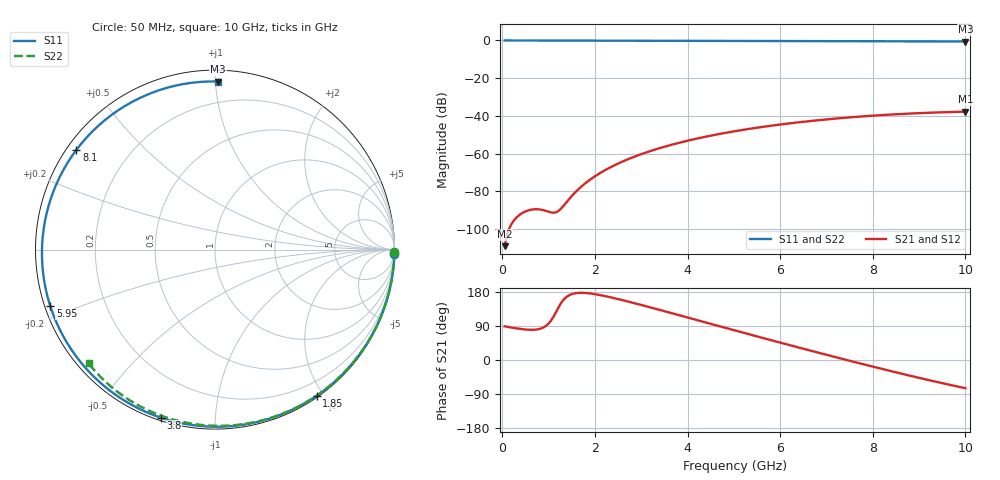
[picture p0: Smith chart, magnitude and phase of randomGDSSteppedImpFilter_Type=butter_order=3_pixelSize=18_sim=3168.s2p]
! freq	dB(S11)	phase(S11)	dB(S12)	phase(S12)
!  dB(S21)	phase(S21)	dB(S22)	phase(S22)
!S-par simulation data
#  GHz  S  DB  R 50
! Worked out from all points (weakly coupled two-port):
!   200 points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, 50 MHz to 10 GHz, reference 50 ohm
!   highest |S21| = -37.75 dB at 10 GHz (marker M1); lowest = -109.1 dB at 50 MHz (marker M2)
!   lowest |S11| = -0.6 dB at 10 GHz (marker M3), VSWR 30.51, Z = 3.33 + j50.8 ohm
!   |S11| at or under -10 dB: nowhere
!   |S22| runs from -0.5 to 0.0 dB; largest |S21 - S12| = 0
!   S11 on the Smith chart (normalised r, x): 50 MHz: 0, -74; 1.85 GHz: 0.02, -1.91; 3.8 GHz: 0.01, -0.73; 5.95 GHz: 0.02, -0.17; 8.1 GHz: 0.03, +0.32; 10 GHz: 0.07, +1.02
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0.05  -0.00 -1.5  -109.06 88.9  -109.06 88.9  -0.00 -0.8
0.4  -0.02 -12.2  -91.97 81.8  -91.97 81.8  -0.01 -6.4
0.75  -0.03 -22.8  -89.47 80.6  -89.47 80.6  -0.02 -11.9
1.55  -0.06 -46.6  -81.14 175.5  -81.14 175.5  -0.03 -24.4
1.6  -0.06 -48.0  -79.90 176.6  -79.90 176.6  -0.03 -25.2
1.75  -0.07 -52.4  -76.56 177.2  -76.56 177.2  -0.04 -27.5
1.85  -0.07 -55.2  -74.61 176.3  -74.61 176.3  -0.04 -29.1
2.15  -0.08 -63.7  -69.73 170.4  -69.73 170.4  -0.04 -33.7
2.5  -0.09 -73.5  -65.26 160.8  -65.26 160.8  -0.05 -39.0
2.9  -0.11 -84.3  -61.18 148.5  -61.18 148.5  -0.06 -45.0
3.4  -0.13 -97.6  -57.07 132.2  -57.07 132.2  -0.07 -52.4
3.8  -0.14 -107.9  -54.36 118.9  -54.36 118.9  -0.08 -58.2
4.4  -0.17 -123.0  -50.97 98.8  -50.97 98.8  -0.10 -66.7
5.05  -0.20 -139.0  -48.00 77.1  -48.00 77.1  -0.12 -75.7
5.95  -0.26 -161.0  -44.73 47.5  -44.73 47.5  -0.15 -87.8
6.7  -0.32 -179.5  -42.59 23.3  -42.59 23.3  -0.19 -97.6
7.4  -0.37 162.8  -40.98 1.1  -40.98 1.1  -0.23 -106.4
8.1  -0.43 144.2  -39.71 -20.5  -39.71 -20.5  -0.28 -115.1
8.35  -0.45 137.4  -39.34 -28.1  -39.34 -28.1  -0.30 -118.1
9.2  -0.52 113.1  -38.34 -52.8  -38.34 -52.8  -0.38 -128.4
9.6  -0.55 101.2  -38.01 -63.9  -38.01 -63.9  -0.42 -133.2
10  -0.57 89.0  -37.75 -74.4  -37.75 -74.4  -0.47 -138.0
